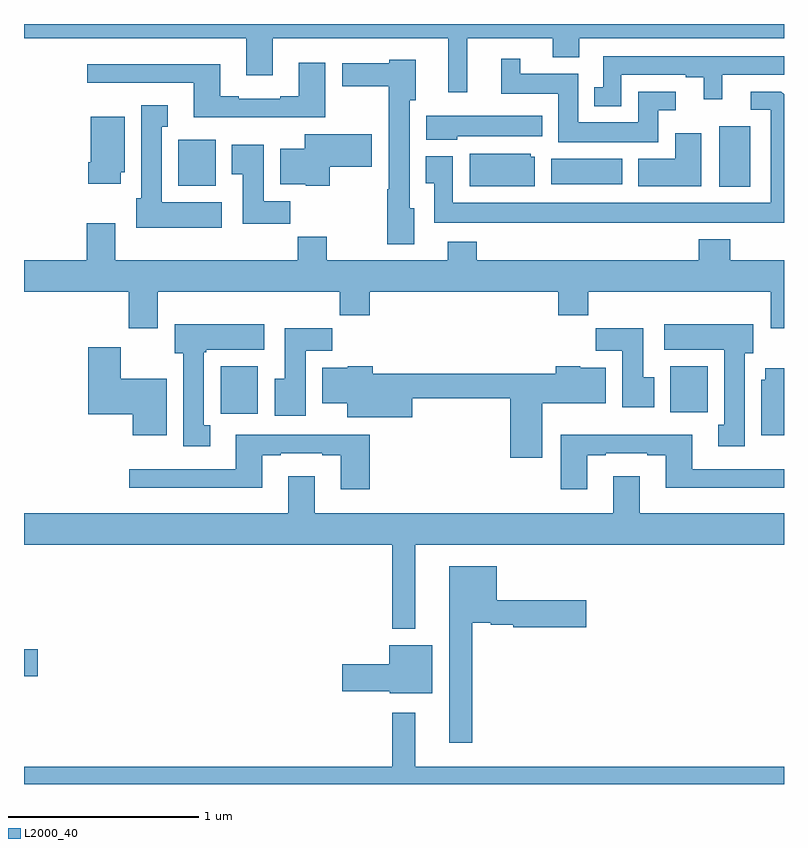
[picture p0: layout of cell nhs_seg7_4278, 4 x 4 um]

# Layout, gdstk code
import gdstk
lib = gdstk.Library(unit=1e-6, precision=1e-09)
def R(c, l, rs):  # rectangles x0, y0, x1, y1
    for r in rs: c.add(gdstk.rectangle(r[:2], r[2:], *l))
def P(c, l, *ps):  # polygons
    for p in ps: c.add(gdstk.Polygon(p, *l))
L2000_40 = (2000, 40)

nhs_seg7_4278 = lib.new_cell('nhs_seg7_4278')
R(nhs_seg7_4278, L2000_40, [(381,1022.566,381.073,1022.708), (382.035,1023.948,382.231,1024.198), (384.401,1023.956,384.598,1024.198), (384.659,1025.144,384.823,1025.461), (381.812,1025.15,382.009,1025.392), (383.775,1025.156,384.148,1025.29)])
P(nhs_seg7_4278, L2000_40, [(383.333,1025.924),(383.783,1025.924),(383.783,1025.825),(383.923,1025.825),(383.923,1025.924),(385,1025.924),(385,1026),(381,1026),(381,1025.924),(382.169,1025.924),(382.169,1025.73),(382.309,1025.73),(382.309,1025.924),(383.234,1025.924),(383.234,1025.64),(383.333,1025.64)],
  [(384.144,1025.733),(384.482,1025.733),(384.482,1025.721),(384.578,1025.721),(384.578,1025.603),(384.676,1025.603),(384.676,1025.733),(385,1025.733),(385,1025.829),(384.048,1025.829),(384.048,1025.667),(384.002,1025.667),(384.002,1025.567),(384.144,1025.567)],
  [(384.337,1025.547),(384.43,1025.547),(384.43,1025.643),(384.233,1025.643),(384.233,1025.482),(383.917,1025.482),(383.917,1025.737),(383.611,1025.737),(383.611,1025.818),(383.513,1025.818),(383.513,1025.633),(383.813,1025.633),(383.813,1025.378),(384.337,1025.378)],
  [(383.053,1025.031),(383.029,1025.031),(383.029,1025.598),(383.062,1025.598),(383.062,1025.812),(382.923,1025.812),(382.923,1025.794),(382.674,1025.794),(382.674,1025.672),(382.919,1025.672),(382.919,1025.131),(382.912,1025.131),(382.912,1024.841),(383.053,1024.841)],
  [(382.585,1025.797),(382.445,1025.797),(382.445,1025.62),(382.349,1025.62),(382.349,1025.607),(382.129,1025.607),(382.129,1025.62),(382.033,1025.62),(382.033,1025.788),(381.333,1025.788),(381.333,1025.691),(381.893,1025.691),(381.893,1025.51),(382.585,1025.51)],
  [(385,1025.629),(384.986,1025.643),(384.825,1025.643),(384.825,1025.55),(384.929,1025.55),(384.929,1025.059),(383.256,1025.059),(383.256,1025.305),(383.114,1025.305),(383.114,1025.161),(383.159,1025.161),(383.159,1024.955),(385,1024.955)],
  [(382.042,1025.062),(381.724,1025.062),(381.724,1025.459),(381.757,1025.459),(381.757,1025.572),(381.617,1025.572),(381.617,1025.082),(381.59,1025.082),(381.59,1024.928),(382.042,1024.928)],
  [(383.28,1025.408),(383.728,1025.408),(383.728,1025.518),(383.118,1025.518),(383.118,1025.39),(383.28,1025.39)],
  [(381.508,1025.22),(381.529,1025.22),(381.529,1025.512),(381.35,1025.512),(381.35,1025.272),(381.338,1025.272),(381.338,1025.16),(381.508,1025.16)],
  [(384.565,1025.425),(384.428,1025.425),(384.428,1025.29),(384.233,1025.29),(384.233,1025.147),(384.565,1025.147)],
  [(382.608,1025.249),(382.831,1025.249),(382.831,1025.419),(382.478,1025.419),(382.478,1025.344),(382.349,1025.344),(382.349,1025.156),(382.482,1025.156),(382.482,1025.15),(382.608,1025.15)],
  [(382.4,1025.068),(382.261,1025.068),(382.261,1025.365),(382.094,1025.365),(382.094,1025.209),(382.151,1025.209),(382.151,1024.95),(382.4,1024.95)],
  [(383.689,1025.301),(383.667,1025.301),(383.667,1025.317),(383.345,1025.317),(383.345,1025.147),(383.689,1025.147)],
  [(381.703,1024.592),(382.663,1024.592),(382.663,1024.468),(382.82,1024.468),(382.82,1024.592),(383.813,1024.592),(383.813,1024.468),(383.969,1024.468),(383.969,1024.592),(384.929,1024.592),(384.929,1024.398),(385,1024.398),(385,1024.756),(384.716,1024.756),(384.716,1024.867),(384.551,1024.867),(384.551,1024.756),(383.384,1024.756),(383.384,1024.855),(383.231,1024.855),(383.231,1024.756),(382.593,1024.756),(382.593,1024.88),(382.441,1024.88),(382.441,1024.756),(381.481,1024.756),(381.481,1024.951),(381.329,1024.951),(381.329,1024.756),(381,1024.756),(381,1024.592),(381.551,1024.592),(381.551,1024.398),(381.703,1024.398)],
  [(381.979,1023.889),(381.946,1023.889),(381.946,1024.273),(381.96,1024.273),(381.96,1024.286),(382.264,1024.286),(382.264,1024.42),(381.794,1024.42),(381.794,1024.266),(381.839,1024.266),(381.839,1023.777),(381.979,1023.777)],
  [(384.793,1024.266),(384.838,1024.266),(384.838,1024.42),(384.369,1024.42),(384.369,1024.286),(384.686,1024.286),(384.686,1023.89),(384.653,1023.89),(384.653,1023.777),(384.793,1023.777)],
  [(384.316,1024.14),(384.259,1024.14),(384.259,1024.399),(384.01,1024.399),(384.01,1024.28),(384.149,1024.28),(384.149,1023.984),(384.316,1023.984)],
  [(382.483,1024.28),(382.622,1024.28),(382.622,1024.399),(382.373,1024.399),(382.373,1024.132),(382.319,1024.132),(382.319,1023.939),(382.483,1023.939)],
  [(381.751,1024.132),(381.508,1024.132),(381.508,1024.3),(381.338,1024.3),(381.338,1023.947),(381.572,1023.947),(381.572,1023.836),(381.751,1023.836)],
  [(383.728,1024.004),(384.061,1024.004),(384.061,1024.192),(383.928,1024.192),(383.928,1024.198),(383.798,1024.198),(383.798,1024.159),(382.835,1024.159),(382.835,1024.198),(382.704,1024.198),(382.704,1024.192),(382.571,1024.192),(382.571,1024.004),(382.7,1024.004),(382.7,1023.929),(383.044,1023.929),(383.044,1024.03),(383.558,1024.03),(383.558,1023.717),(383.728,1023.717)],
  [(385,1024.189),(384.902,1024.189),(384.902,1024.128),(384.881,1024.128),(384.881,1023.836),(385,1023.836)],
  [(383.965,1023.729),(384.061,1023.729),(384.061,1023.741),(384.281,1023.741),(384.281,1023.729),(384.377,1023.729),(384.377,1023.56),(385,1023.56),(385,1023.657),(384.517,1023.657),(384.517,1023.838),(383.825,1023.838),(383.825,1023.552),(383.965,1023.552)],
  [(382.82,1023.837),(382.115,1023.837),(382.115,1023.657),(381.555,1023.657),(381.555,1023.56),(382.255,1023.56),(382.255,1023.729),(382.351,1023.729),(382.351,1023.741),(382.571,1023.741),(382.571,1023.729),(382.667,1023.729),(382.667,1023.552),(382.82,1023.552)],
  [(383.059,1023.26),(385,1023.26),(385,1023.424),(384.241,1023.424),(384.241,1023.619),(384.101,1023.619),(384.101,1023.424),(382.531,1023.424),(382.531,1023.619),(382.391,1023.619),(382.391,1023.424),(381,1023.424),(381,1023.26),(382.938,1023.26),(382.938,1022.816),(383.059,1022.816)],
  [(383.359,1022.849),(383.456,1022.849),(383.456,1022.837),(383.574,1022.837),(383.574,1022.825),(383.959,1022.825),(383.959,1022.967),(383.488,1022.967),(383.488,1023.145),(383.237,1023.145),(383.237,1022.217),(383.359,1022.217)],
  [(383.149,1022.731),(382.922,1022.731),(382.922,1022.63),(382.674,1022.63),(382.674,1022.488),(382.926,1022.488),(382.926,1022.477),(383.149,1022.477)],
  [(385,1022.092),(383.059,1022.092),(383.059,1022.374),(382.938,1022.374),(382.938,1022.092),(381,1022.092),(381,1022),(385,1022)])

lib.write_gds('nhs_seg7_4278.gds')
